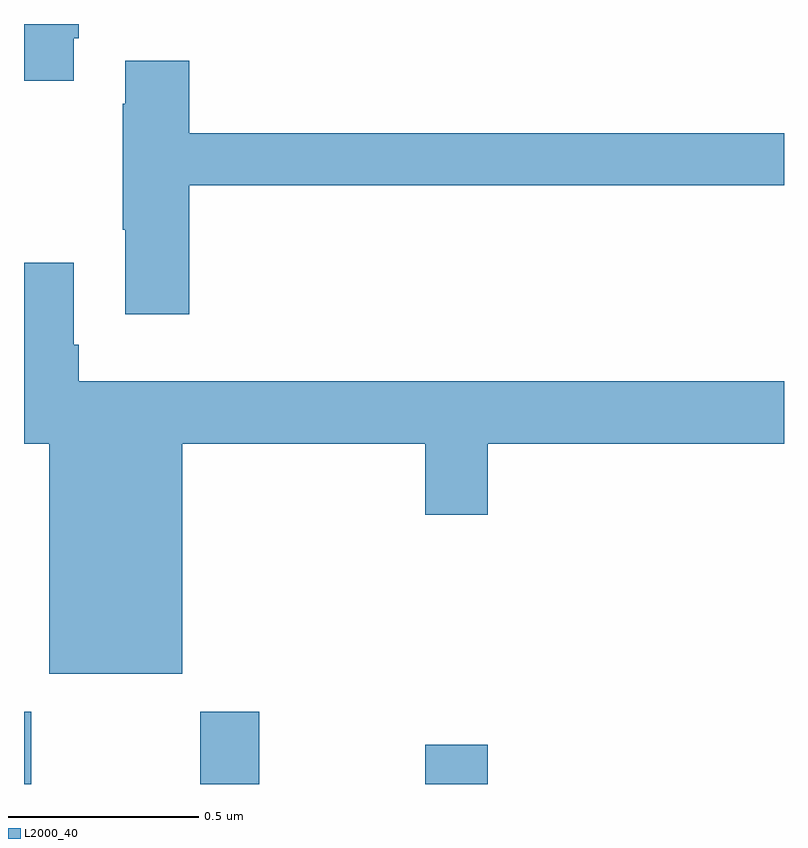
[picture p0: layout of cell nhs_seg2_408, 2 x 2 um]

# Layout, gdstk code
import gdstk
lib = gdstk.Library(unit=1e-6, precision=1e-09)
def R(c, l, rs):  # rectangles x0, y0, x1, y1
    for r in rs: c.add(gdstk.rectangle(r[:2], r[2:], *l))
def P(c, l, *ps):  # polygons
    for p in ps: c.add(gdstk.Polygon(p, *l))
L2000_40 = (2000, 40)

nhs_seg2_408 = lib.new_cell('nhs_seg2_408')
R(nhs_seg2_408, L2000_40, [(116,586.8,116.019,586.99), (116.464,586.8,116.619,586.99), (117.056,586.8,117.22,586.903)])
P(nhs_seg2_408, L2000_40, [(116.131,588.763),(116.144,588.763),(116.144,588.8),(116,588.8),(116,588.651),(116.131,588.651)],
  [(116.435,588.376),(118,588.376),(118,588.512),(116.435,588.512),(116.435,588.703),(116.267,588.703),(116.267,588.59),(116.26,588.59),(116.26,588.259),(116.267,588.259),(116.267,588.036),(116.435,588.036)],
  [(116.416,587.696),(117.056,587.696),(117.056,587.508),(117.22,587.508),(117.22,587.696),(118,587.696),(118,587.86),(116.144,587.86),(116.144,587.956),(116.131,587.956),(116.131,588.172),(116,588.172),(116,587.696),(116.066,587.696),(116.066,587.09),(116.416,587.09)])

lib.write_gds('nhs_seg2_408.gds')
